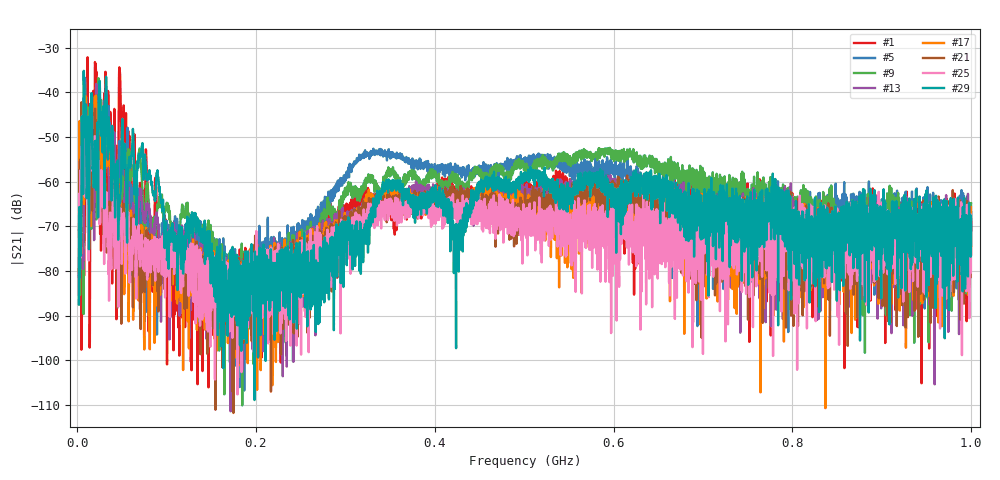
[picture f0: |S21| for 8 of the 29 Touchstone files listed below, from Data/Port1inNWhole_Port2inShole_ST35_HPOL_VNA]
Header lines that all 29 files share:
!Keysight Technologies N9923A: A.12.45
!Timezone: (UTC+08:00) Kuala Lumpur, Singapore
!Model: N9923A
!Serial: MY61181427
!GPS Latitude:
!GPS Longitude:
!GPS TimeStamp: 0001-01-01 00:00:00Z
!GPS Seconds Since Last Read: 0
!Correction: S11(ON U)S21(ON U)S12(ON U)S22(ON U)
!S2P File: Measurements:S11,S21,S12,S22:
# Hz S DB R 50
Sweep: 2 MHz to 1 GHz
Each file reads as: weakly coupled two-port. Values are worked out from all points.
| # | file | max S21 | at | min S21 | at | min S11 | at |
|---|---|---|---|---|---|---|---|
| 1 | Aug4_hpol_down_1m.s2p | -32.10 dB | 11.73 MHz | -106.1 dB | 147 MHz | -16.5 dB | 798.7 MHz |
| 2 | Aug4_hpol_down_2m.s2p | -27.02 dB | 11.48 MHz | -113.5 dB | 260.5 MHz | -17.0 dB | 798.7 MHz |
| 3 | Aug4_hpol_down_3m.s2p | -32.77 dB | 11.23 MHz | -104.5 dB | 937.9 MHz | -16.5 dB | 798.7 MHz |
| 4 | Aug4_hpol_down_4m.s2p | -28.48 dB | 10.98 MHz | -107.7 dB | 624.8 MHz | -16.6 dB | 798.7 MHz |
| 5 | Aug4_hpol_down_7m.s2p | -36.71 dB | 8.736 MHz | -106.8 dB | 186.9 MHz | -16.9 dB | 798.7 MHz |
| 6 | Aug4_hpol_down_8m.s2p | -38.09 dB | 8.736 MHz | -109.3 dB | 225.3 MHz | -16.8 dB | 798.7 MHz |
| 7 | Aug4_hpol_down_10m.s2p | -35.56 dB | 14.23 MHz | -105.6 dB | 212.8 MHz | -18.3 dB | 798.7 MHz |
| 8 | Aug4_hpol_down_13m.s2p | -37.98 dB | 21.71 MHz | -105.4 dB | 201.4 MHz | -19.1 dB | 798.7 MHz |
| 9 | Aug4_hpol_down_15m.s2p | -36.83 dB | 23.96 MHz | -110.2 dB | 184.6 MHz | -19.3 dB | 798.7 MHz |
| 10 | Aug4_hpol_down_18m.s2p | -37.09 dB | 22.46 MHz | -109.0 dB | 976.3 MHz | -17.5 dB | 798.7 MHz |
| 11 | Aug4_hpol_down_19m.s2p | -39.64 dB | 22.96 MHz | -109.1 dB | 161.9 MHz | -17.5 dB | 798.7 MHz |
| 12 | Aug4_hpol_down_23m.s2p | -43.09 dB | 26.7 MHz | -105.9 dB | 850.5 MHz | -17.5 dB | 796.9 MHz |
| 13 | Aug4_hpol_down_24m.s2p | -38.09 dB | 21.46 MHz | -111.5 dB | 171.7 MHz | -17.9 dB | 796.9 MHz |
| 14 | Aug4_hpol_down_25m.s2p | -40.89 dB | 21.46 MHz | -106.2 dB | 106.8 MHz | -18.2 dB | 796.9 MHz |
| 15 | Aug4_hpol_down_29m.s2p | -39.75 dB | 17.72 MHz | -108.8 dB | 162.7 MHz | -19.7 dB | 796.9 MHz |
| 16 | Aug4_hpol_down_30m.s2p | -37.06 dB | 21.46 MHz | -102.3 dB | 166.2 MHz | -20.1 dB | 796.9 MHz |
| 17 | Aug4_hpol_down_33m.s2p | -40.68 dB | 21.21 MHz | -110.8 dB | 837.1 MHz | -24.6 dB | 796.9 MHz |
| 18 | Aug4_hpol_down_34m.s2p | -40.68 dB | 21.21 MHz | -111.5 dB | 951.8 MHz | -24.6 dB | 796.9 MHz |
| 19 | Aug4_hpol_down_39m.s2p | -42.30 dB | 8.238 MHz | -108.0 dB | 244.5 MHz | -20.1 dB | 796.9 MHz |
| 20 | Aug4_hpol_down_41m.s2p | -42.47 dB | 4.994 MHz | -105.2 dB | 826.3 MHz | -20.3 dB | 796.9 MHz |
| 21 | Aug4_hpol_down_43m.s2p | -42.17 dB | 4.994 MHz | -111.9 dB | 174.9 MHz | -20.6 dB | 796.9 MHz |
| 22 | Aug4_hpol_down_44m.s2p | -42.06 dB | 14.47 MHz | -110.1 dB | 209.1 MHz | -20.6 dB | 796.9 MHz |
| 23 | Aug4_hpol_down_48m.s2p | -42.57 dB | 14.47 MHz | -109.0 dB | 210.6 MHz | -21.4 dB | 796.9 MHz |
| 24 | Aug4_hpol_down_49m.s2p | -44.47 dB | 6.491 MHz | -117.2 dB | 827.6 MHz | -21.4 dB | 796.9 MHz |
| 25 | Aug4_hpol_down_50m.s2p | -45.10 dB | 6.491 MHz | -107.7 dB | 179.4 MHz | -21.5 dB | 796.9 MHz |
| 26 | Aug4_hpol_up_4m.s2p | -31.28 dB | 13.98 MHz | -110.3 dB | 257.2 MHz | -28.3 dB | 800.6 MHz |
| 27 | Aug4_hpol_up_6m.s2p | -32.48 dB | 7.988 MHz | -104.6 dB | 167.9 MHz | -27.1 dB | 800.6 MHz |
| 28 | Aug4_hpol_up_7m.s2p | -31.85 dB | 10.73 MHz | -100.5 dB | 197.6 MHz | -27.4 dB | 800.6 MHz |
| 29 | Aug4_hpol_up_10m.s2p | -35.15 dB | 7.489 MHz | -108.9 dB | 198.4 MHz | -26.8 dB | 798.9 MHz |
